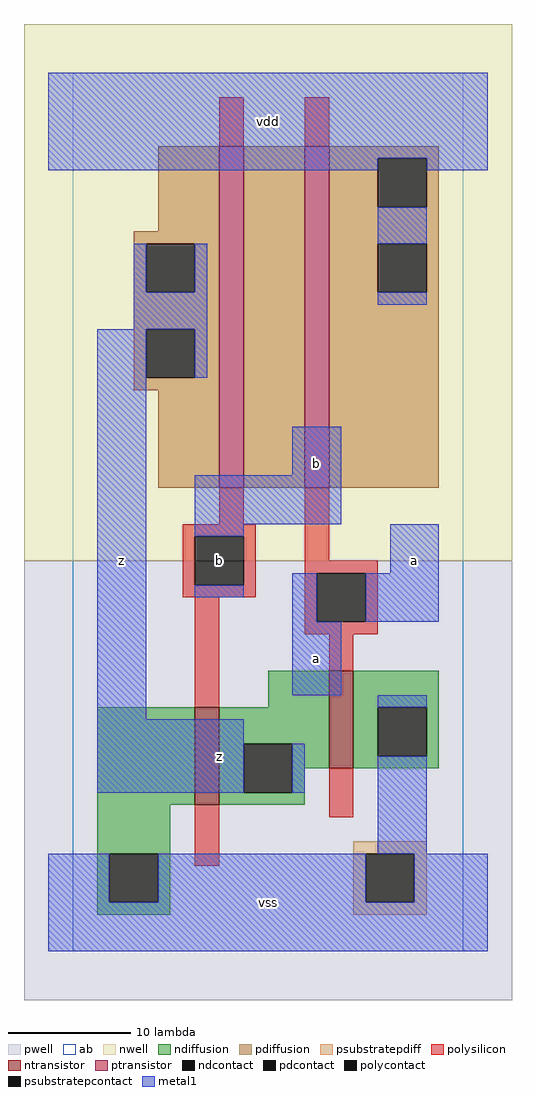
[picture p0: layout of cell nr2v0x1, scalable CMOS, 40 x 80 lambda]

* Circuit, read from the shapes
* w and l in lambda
.subckt nr2v0x1 a b vdd vss z
M1 z b vss vss nfet w=8 l=2
M2 vss a z vss nfet w=8 l=2
M3 n1 b z n2 pfet w=28 l=2
M4 vdd a n1 n2 pfet w=28 l=2
.ends

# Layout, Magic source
magic
tech scmos
<< ab >>
rect 0 0 32 72
<< pwell >>
rect -4 -4 36 32
<< nwell >>
rect -4 32 36 76
<< polysilicon >>
rect 12 66 14 70
rect 19 66 21 70
rect 12 35 14 38
rect 9 34 15 35
rect 9 30 10 34
rect 14 30 15 34
rect 9 29 15 30
rect 19 32 21 38
rect 19 31 25 32
rect 10 20 12 29
rect 19 27 20 31
rect 24 27 25 31
rect 19 26 25 27
rect 21 23 23 26
rect 10 7 12 12
rect 21 11 23 15
<< ndiffusion >>
rect 16 20 21 23
rect 2 12 10 20
rect 12 17 21 20
rect 12 13 14 17
rect 18 15 21 17
rect 23 20 30 23
rect 23 16 25 20
rect 29 16 30 20
rect 23 15 30 16
rect 18 13 19 15
rect 12 12 19 13
rect 2 8 8 12
rect 2 4 3 8
rect 7 4 8 8
rect 2 3 8 4
<< pdiffusion >>
rect 7 59 12 66
rect 5 58 12 59
rect 5 54 6 58
rect 10 54 12 58
rect 5 51 12 54
rect 5 47 6 51
rect 10 47 12 51
rect 5 46 12 47
rect 7 38 12 46
rect 14 38 19 66
rect 21 65 30 66
rect 21 61 25 65
rect 29 61 30 65
rect 21 58 30 61
rect 21 54 25 58
rect 29 54 30 58
rect 21 38 30 54
<< metal1 >>
rect -2 65 34 72
rect -2 64 25 65
rect 29 64 34 65
rect 25 58 29 61
rect 5 54 6 58
rect 10 54 11 58
rect 5 51 11 54
rect 25 53 29 54
rect 2 19 6 51
rect 10 47 11 51
rect 18 39 22 43
rect 10 35 22 39
rect 10 34 14 35
rect 26 31 30 35
rect 10 29 14 30
rect 18 27 20 31
rect 24 27 30 31
rect 18 21 22 27
rect 25 20 29 21
rect 2 13 14 19
rect 18 13 19 17
rect 25 8 29 16
rect -2 4 3 8
rect 7 4 24 8
rect 28 4 34 8
rect -2 0 34 4
<< ntransistor >>
rect 10 12 12 20
rect 21 15 23 23
<< ptransistor >>
rect 12 38 14 66
rect 19 38 21 66
<< polycontact >>
rect 10 30 14 34
rect 20 27 24 31
<< ndcontact >>
rect 14 13 18 17
rect 25 16 29 20
rect 3 4 7 8
<< pdcontact >>
rect 6 54 10 58
rect 6 47 10 51
rect 25 61 29 65
rect 25 54 29 58
<< psubstratepcontact >>
rect 24 4 28 8
<< psubstratepdiff >>
rect 23 8 29 9
rect 23 4 24 8
rect 28 4 29 8
rect 23 3 29 4
<< labels >>
rlabel metal1 4 32 4 32 6 z
rlabel metal1 12 16 12 16 6 z
rlabel polycontact 12 32 12 32 6 b
rlabel metal1 16 4 16 4 6 vss
rlabel metal1 20 24 20 24 6 a
rlabel metal1 20 40 20 40 6 b
rlabel metal1 16 68 16 68 6 vdd
rlabel metal1 28 32 28 32 6 a
<< end >>
